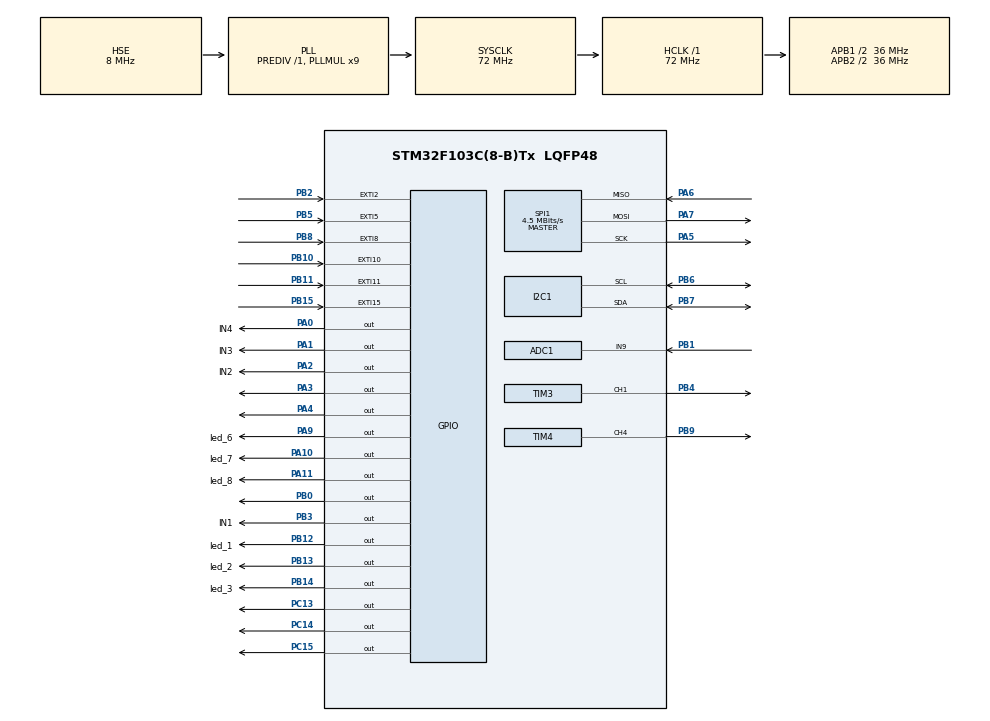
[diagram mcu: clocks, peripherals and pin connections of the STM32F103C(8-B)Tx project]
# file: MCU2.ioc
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ADC1.Channel-2\#ChannelRegularConversion=ADC_CHANNEL_9
ADC1.ContinuousConvMode=ENABLE
ADC1.NbrOfConversionFlag=1
ADC1.Rank-2\#ChannelRegularConversion=1
ADC1.SamplingTime-2\#ChannelRegularConversion=ADC_SAMPLETIME_1CYCLE_5
ADC1.master=1
Mcu.Family=STM32F1
Mcu.Name=STM32F103C(8-B)Tx
Mcu.Package=LQFP48
NVIC.ADC1_2_IRQn=true\:0\:0\:false\:false\:true\:true\:true\:true
NVIC.EXTI15_10_IRQn=true\:0\:0\:false\:false\:true\:true\:true\:true
NVIC.EXTI9_5_IRQn=true\:0\:0\:false\:false\:true\:true\:true\:true
NVIC.PriorityGroup=NVIC_PRIORITYGROUP_4
PA0-WKUP.GPIO_Label=IN4
PA0-WKUP.Signal=GPIO_Output
PA1.GPIO_Label=IN3
PA1.Signal=GPIO_Output
PA10.GPIO_Label=led_7
PA10.Signal=GPIO_Output
PA11.GPIO_Label=led_8
PA11.Signal=GPIO_Output
PA13.Mode=Serial_Wire
PA13.Signal=SYS_JTMS-SWDIO
PA14.Mode=Serial_Wire
PA14.Signal=SYS_JTCK-SWCLK
PA2.GPIO_Label=IN2
PA2.Signal=GPIO_Output
PA3.Signal=GPIO_Output
PA4.Signal=GPIO_Output
PA5.Mode=Full_Duplex_Master
PA5.Signal=SPI1_SCK
PA6.Mode=Full_Duplex_Master
PA6.Signal=SPI1_MISO
PA7.Mode=Full_Duplex_Master
PA7.Signal=SPI1_MOSI
PA9.GPIO_Label=led_6
PA9.Signal=GPIO_Output
PB0.Signal=GPIO_Output
PB1.Signal=ADCx_IN9
PB10.GPIO_PuPd=GPIO_PULLDOWN
PB10.Signal=GPXTI10
PB11.GPIO_PuPd=GPIO_PULLDOWN
PB11.Signal=GPXTI11
PB12.GPIO_Label=led_1
PB12.Signal=GPIO_Output
PB13.GPIO_Label=led_2
PB13.Signal=GPIO_Output
PB14.GPIO_Label=led_3
PB14.Signal=GPIO_Output
PB15.GPIO_PuPd=GPIO_PULLDOWN
PB15.Signal=GPXTI15
PB2.GPIO_PuPd=GPIO_PULLDOWN
PB2.Signal=GPXTI2
PB3.GPIO_Label=IN1
PB3.Signal=GPIO_Output
PB4.Signal=S_TIM3_CH1
PB5.GPIO_PuPd=GPIO_PULLDOWN
PB5.Signal=GPXTI5
PB6.Mode=I2C
PB6.Signal=I2C1_SCL
PB7.Mode=I2C
PB7.Signal=I2C1_SDA
PB8.GPIO_PuPd=GPIO_PULLDOWN
PB8.Signal=GPXTI8
PB9.Signal=S_TIM4_CH4
PC13-TAMPER-RTC.Signal=GPIO_Output
PC14-OSC32_IN.Signal=GPIO_Output
PC15-OSC32_OUT.Signal=GPIO_Output
PD0-OSC_IN.Mode=HSE-External-Oscillator
PD0-OSC_IN.Signal=RCC_OSC_IN
PD1-OSC_OUT.Mode=HSE-External-Oscillator
PD1-OSC_OUT.Signal=RCC_OSC_OUT
ProjectManager.HeapSize=0x200
ProjectManager.StackSize=0x400
ProjectManager.TargetToolchain=STM32CubeIDE
RCC.ADCPresc=RCC_ADCPCLK2_DIV4
RCC.AHBFreq_Value=72000000
RCC.APB1CLKDivider=RCC_HCLK_DIV2
RCC.APB1Freq_Value=36000000
RCC.APB1TimFreq_Value=72000000
RCC.APB2CLKDivider=RCC_HCLK_DIV2
RCC.APB2Freq_Value=36000000
RCC.APB2TimFreq_Value=72000000
RCC.HCLKFreq_Value=72000000
RCC.PLLMUL=RCC_PLL_MUL9
RCC.PLLSourceVirtual=RCC_PLLSOURCE_HSE
RCC.SYSCLKFreq_VALUE=72000000
RCC.SYSCLKSource=RCC_SYSCLKSOURCE_PLLCLK
RCC.USBFreq_Value=72000000
SH.ADCx_IN9.0=ADC2_IN9
SH.ADCx_IN9.1=ADC1_IN9,IN9
SH.S_TIM3_CH1.0=TIM3_CH1,PWM Generation1 CH1
SH.S_TIM4_CH4.0=TIM4_CH4,PWM Generation4 CH4
SPI1.BaudRatePrescaler=SPI_BAUDRATEPRESCALER_8
SPI1.CalculateBaudRate=4.5 MBits/s
SPI1.Direction=SPI_DIRECTION_2LINES
SPI1.Mode=SPI_MODE_MASTER
SPI1.VirtualType=VM_MASTER
TIM2.Prescaler=71
TIM3.Channel-PWM\ Generation1\ CH1=TIM_CHANNEL_1
TIM3.Period=99
TIM3.Prescaler=7199
TIM4.Channel-PWM\ Generation4\ CH4=TIM_CHANNEL_4
TIM4.Period=99
TIM4.Prescaler=35
VP_TIM2_VS_ClockSourceINT.Mode=Internal
board=custom

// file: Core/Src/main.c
/* USER CODE BEGIN Header */
/**
  ******************************************************************************
  * @file           : main.c
  * @brief          : Main program body
  ******************************************************************************
  * @attention
  *
  * Copyright (c) 2025 STMicroelectronics.
  * All rights reserved.
  *
  * This software is licensed under terms that can be found in the LICENSE file
  * in the root directory of this software component.
  * If no LICENSE file comes with this software, it is provided AS-IS.
  *
  ******************************************************************************
  */
/* USER CODE END Header */
#include "main.h"
#include "adc.h"
#include "i2c.h"
#include "spi.h"
#include "tim.h"
#include "gpio.h"

/* USER CODE BEGIN Includes */

#include "rc522.h"
#include <stdio.h>
#include <string.h>
#include "Anglas_LCD_I2C.h"
#include "LED_Display.h"
#include "step.h"
/* USER CODE END Includes */

/* USER CODE BEGIN PTD */
 uint8_t status;
 uint8_t str[MAX_LEN]; // Max_LEN = 16
 uint8_t sNum[5];

/* USER CODE END PTD */

/* USER CODE BEGIN PV */
 uint32_t adcValue = 0;
 uint8_t coin = 0;
 uint8_t btn_pressed = 0;	//버튼 누름 여부
 uint32_t pwm_value = 60; 	// 낮을수록 세짐
 uint32_t balance = 10000;   // 카드 초기 금액
 uint8_t used = 0;
 uint16_t step_angle = 200;
 uint8_t level_led = 0;
 uint16_t segment_num = 0;
 float temperature = 0.0f;// 카드 사용 여부

 char lcd_line1[16];
 char lcd_line2[16];
 char buff[16];

 typedef struct {
     GPIO_TypeDef* Port;
     uint16_t Pin;
 } Led_t;

 typedef enum {
     STATE_READY,
     STATE_RUN,
     STATE_FINISH
 } SystemState;

 SystemState sys_state = STATE_FINISH;

 Led_t LEDs[3] = {
     {led_1_GPIO_Port, led_1_Pin},
     {led_2_GPIO_Port, led_2_Pin},
     {led_3_GPIO_Port, led_3_Pin}
 };

 Led_t LEDs_2[3] = {
     {led_6_GPIO_Port, led_6_Pin},
     {led_7_GPIO_Port, led_7_Pin},
     {led_8_GPIO_Port, led_8_Pin}
 };

 void update_leds(uint8_t level)
 {
     for (int i = 0; i < 3; i++) {
         if (i < level)
             HAL_GPIO_WritePin(LEDs_2[i].Port, LEDs_2[i].Pin, GPIO_PIN_SET);
         else
             HAL_GPIO_WritePin(LEDs_2[i].Port, LEDs_2[i].Pin, GPIO_PIN_RESET);
     }
 }

 void update_Lcd()
 {
	 // LCD 갱신
	 if (sys_state == STATE_READY) {
		 sprintf(lcd_line1, " Rest:%lu RDY ", balance);
	 }
	 else if (sys_state == STATE_RUN) {
		 sprintf(lcd_line1, "------RUN------");
		 sprintf(lcd_line2, "               ");
	 }
	 else if (sys_state == STATE_FINISH) {
		 sprintf(lcd_line1, "-----Start-----");
		 sprintf(lcd_line2, "-----Start-----");
	 }
	 LCD_I2C_WriteText(1, 1, lcd_line1);
	 LCD_I2C_WriteText(2, 1, lcd_line2);
 }
/* USER CODE END PV */

void SystemClock_Config(void);

int main(void)
{

  /* MCU Configuration--------------------------------------------------------*/

  /* Reset of all peripherals, Initializes the Flash interface and the Systick. */
  HAL_Init();

  /* Configure the system clock */
  SystemClock_Config();

  /* Initialize all configured peripherals */
  MX_GPIO_Init();
  MX_SPI1_Init();
  MX_I2C1_Init();
  MX_ADC1_Init();
  MX_TIM2_Init();
  MX_TIM4_Init();
  MX_TIM3_Init();
  /* USER CODE BEGIN 2 */
  MFRC522_Init();
  tm1637Init();
  tm1637SetBrightness(6);
  tm1637DisplayDecimal(segment_num, 1);

    // Display the value "1234" and turn on the `:` that is between digits 2 and 3.

//  ///////////////////////////////////////////////////////////////
  HAL_ADC_Start(&hadc1);
//
  LCD_I2C_Init();

  LCD_I2C_Clear();

  /////////////////////////////////////////////////////////////////
  HAL_TIM_Base_Start(&htim2);
//  HAL_TIM_PWM_Start(&htim4, TIM_CHANNEL_4);	//DC모터
//    TIM4 -> CCR4 = pwm_value;

    sprintf(lcd_line1, "Cost:10000 ");
	sprintf(lcd_line2, "Temp:    ");
	 LCD_I2C_WriteText(1, 1, lcd_line1);
	 LCD_I2C_WriteText(2, 1, lcd_line2);

//  for (int i=0; i<=360; i+=5) {
//  	      Stepper_rotate_absolute(5, 10, 0); // CW 1도
//  	      HAL_Delay(10);
//  	  }
//  	  for (int i=0; i<=360; i+=5) {
//  	      Stepper_rotate_absolute(5, 10, 1); // CCW 1도
//  	      HAL_Delay(10);
//  	  }

//  HAL_TIM_PWM_Start(&htim4, TIM_CHANNEL_4);	//DC모터
//  TIM4 -> CCR4 = pwm_value;
//
//  stepCV(256, 1000);  // 반바퀴, 스텝당 2ms (안정적)
//  HAL_Delay(10);
//  stepCCV(128, 1000);  // 반바퀴, 스텝당 2ms (안정적)
  ///////////////////////////////////////////////////////////////////
//  HAL_TIM_PWM_Start(&htim3, TIM_CHANNEL_2);
  /* USER CODE END 2 */

  /* Infinite loop */
  /* USER CODE BEGIN WHILE */
  while (1)
  {

	  if(sys_state != STATE_RUN)
	  {
			 status = MFRC522_Request(PICC_REQIDL, str);
			 status = MFRC522_Anticoll(str);
			 if (status == MI_OK) {
				 memcpy(sNum, str, 5);
				 balance -= 1000;         // 차감
				 segment_num += 10;
				 tm1637DisplayDecimal(segment_num, 1);
				 sys_state = STATE_READY;   // 동작 상태 변경
				 HAL_GPIO_TogglePin(GPIOC,GPIO_PIN_13);

			 }
	  }

	  if(sys_state == STATE_READY)
	  {
	    if (HAL_ADC_PollForConversion(&hadc1, 10) == HAL_OK) {
	        adcValue = HAL_ADC_GetValue(&hadc1);
	        float voltage = (3.3f * adcValue) / 4095.0f;
	        int temp_step = (((int)((voltage * 30.3f) + 0.1f)/ 10)) * 10;
	        int level = ( adcValue * 3) / 4096 + 1;  // 0~3 단계
	        if (level > 3) level = 3;

			for (int i = 0; i < 3; i++) {
				if (i < level)
					HAL_GPIO_WritePin(LEDs[i].Port, LEDs[i].Pin, GPIO_PIN_SET);
				else
					HAL_GPIO_WritePin(LEDs[i].Port, LEDs[i].Pin, GPIO_PIN_RESET);

			}

			sprintf(lcd_line2, "Temp:%3dC      ", temp_step);
			LCD_I2C_WriteText(2, 1, lcd_line2);
	    }
	  }
	  else if(sys_state == STATE_RUN)
	  {
		  segment_num -= 1;
		  tm1637DisplayDecimal(segment_num, 1);
		  HAL_Delay(1000);
		  if(!segment_num)
		  {
			  HAL_Delay(1000);
			  sys_state = STATE_FINISH;
		  }

	  }

	  update_Lcd();

    /* USER CODE END WHILE */

  }
}

void SystemClock_Config(void)
{
  RCC_OscInitTypeDef RCC_OscInitStruct = {0};
  RCC_ClkInitTypeDef RCC_ClkInitStruct = {0};
  RCC_PeriphCLKInitTypeDef PeriphClkInit = {0};

  /** Initializes the RCC Oscillators according to the specified parameters
  * in the RCC_OscInitTypeDef structure.
  */
  RCC_OscInitStruct.OscillatorType = RCC_OSCILLATORTYPE_HSE;
  RCC_OscInitStruct.HSEState = RCC_HSE_ON;
  RCC_OscInitStruct.HSEPredivValue = RCC_HSE_PREDIV_DIV1;
  RCC_OscInitStruct.HSIState = RCC_HSI_ON;
  RCC_OscInitStruct.PLL.PLLState = RCC_PLL_ON;
  RCC_OscInitStruct.PLL.PLLSource = RCC_PLLSOURCE_HSE;
  RCC_OscInitStruct.PLL.PLLMUL = RCC_PLL_MUL9;
  if (HAL_RCC_OscConfig(&RCC_OscInitStruct) != HAL_OK)
  {
    Error_Handler();
  }

  /** Initializes the CPU, AHB and APB buses clocks
  */
  RCC_ClkInitStruct.ClockType = RCC_CLOCKTYPE_HCLK|RCC_CLOCKTYPE_SYSCLK
                              |RCC_CLOCKTYPE_PCLK1|RCC_CLOCKTYPE_PCLK2;
  RCC_ClkInitStruct.SYSCLKSource = RCC_SYSCLKSOURCE_PLLCLK;
  RCC_ClkInitStruct.AHBCLKDivider = RCC_SYSCLK_DIV1;
  RCC_ClkInitStruct.APB1CLKDivider = RCC_HCLK_DIV2;
  RCC_ClkInitStruct.APB2CLKDivider = RCC_HCLK_DIV2;

  if (HAL_RCC_ClockConfig(&RCC_ClkInitStruct, FLASH_LATENCY_2) != HAL_OK)
  {
    Error_Handler();
  }
  PeriphClkInit.PeriphClockSelection = RCC_PERIPHCLK_ADC;
  PeriphClkInit.AdcClockSelection = RCC_ADCPCLK2_DIV4;
  if (HAL_RCCEx_PeriphCLKConfig(&PeriphClkInit) != HAL_OK)
  {
    Error_Handler();
  }
}

/* USER CODE BEGIN 4 */
void HAL_ADC_ConvCpltCallback(ADC_HandleTypeDef* hadc) {
	if (hadc->Instance == ADC1) {
//		adcValue = HAL_ADC_GetValue(&hadc1);
//		float voltage = (3.3f * adcValue) / 4095.0f;
//		temperature = voltage * 100.0f;  // 센서 보정 필요
//		int level = ( adcValue * 3) / 4096;  // 0~3 단계
//			for (int i = 0; i < 3; i++) {
//				if (i < level)
//					HAL_GPIO_WritePin(LEDs[i].Port, LEDs[i].Pin, GPIO_PIN_SET);
//				else
//					HAL_GPIO_WritePin(LEDs[i].Port, LEDs[i].Pin, GPIO_PIN_RESET);
//			}
//
//			// LCD 두 번째 줄만 갱신
//			if (sys_state == STATE_RUN)
//				sprintf(lcd_line2, "Temp:%.1fC RUN", temperature);
//			else if (sys_state == STATE_READY)
//				sprintf(lcd_line2, "Temp:%.1fC Rdy", temperature);
//			else if (sys_state == STATE_FINISH)
//				sprintf(lcd_line2, "Temp:%.1fC Fin", temperature);
//
//			LCD_I2C_WriteText(2, 1, lcd_line2);

	}
}
void HAL_GPIO_EXTI_Callback(uint16_t GPIO_Pin)
{
	if(sys_state == STATE_READY)
	{
	 if (GPIO_Pin == GPIO_PIN_8)
	    {
	        // 버튼이 눌릴 때(상승엣지)마다 실행

		 	 if (level_led < 3) level_led++;   // 최대 3
			 update_leds(level_led);
			 pwm_value -= 10;
			 if (pwm_value <= 40)
				{
					 pwm_value = 40;
					HAL_GPIO_TogglePin(GPIOC, GPIO_PIN_13);
				}
			TIM4->CCR4 = pwm_value;

	    }
	 else if (GPIO_Pin == GPIO_PIN_5)
	 	 {
	 	 	 if (level_led > 0) level_led--;   // 최소 0
			 update_leds(level_led);
			 pwm_value += 10;
			 if (pwm_value >= 60)
				{
					 pwm_value = 60;
					HAL_GPIO_TogglePin(GPIOC, GPIO_PIN_13);
				}
			TIM4->CCR4 = pwm_value;

		}

	 else if (GPIO_Pin == GPIO_PIN_2)
		{
			// 버튼이 눌릴 때(상승엣지)마다 실행
			HAL_GPIO_TogglePin(GPIOC, GPIO_PIN_13);

	        if (step_angle > 200) step_angle -= 100;  // 음수 방지
	        else step_angle = 200; // 10도 줄임 (원하는 단위 각도)

	        Stepper_rotate_absolute(5, step_angle, 0); // 모터 위치 이동

		}
	 else if (GPIO_Pin == GPIO_PIN_15)
		{
			// 버튼이 눌릴 때(상승엣지)마다 실행
			HAL_GPIO_TogglePin(GPIOC, GPIO_PIN_13);

		   if (step_angle < 400) step_angle += 100;  // 음수 방지
		   else step_angle = 400; // 10도 줄임 (원하는 단위 각도)

		   Stepper_rotate_absolute(5, step_angle, 0); // 모터 위치 이동
		}
	}

	 if (GPIO_Pin == GPIO_PIN_10)	//동작버튼
		{
			// 버튼이 눌릴 때(상승엣지)마다 실행
			 if(sys_state == STATE_READY)
			 {
				  HAL_TIM_PWM_Start(&htim4, TIM_CHANNEL_4);	//DC모터
				  TIM4 -> CCR4 = pwm_value;
				HAL_GPIO_TogglePin(GPIOC, GPIO_PIN_13);
				sys_state = STATE_RUN;
			 }

		}
	 else if (GPIO_Pin == GPIO_PIN_11)	//종료 버튼
		{
				// 버튼이 눌릴 때(상승엣지)마다 실행
			 if(sys_state != STATE_FINISH)
			 {
				HAL_GPIO_TogglePin(GPIOC, GPIO_PIN_13);
				sys_state = STATE_READY;
			 }
		}

}
/* USER CODE END 4 */

void Error_Handler(void)
{
  __disable_irq();
  while (1)
  {
  }
}
